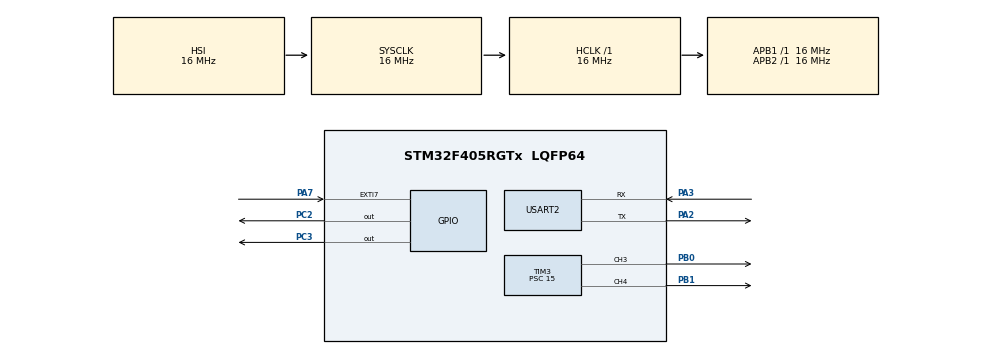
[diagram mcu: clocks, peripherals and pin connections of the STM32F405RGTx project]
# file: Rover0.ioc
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Mcu.Family=STM32F4
Mcu.Name=STM32F405RGTx
Mcu.Package=LQFP64
NVIC.EXTI9_5_IRQn=true\:0\:0\:false\:false\:true\:true\:true\:true
NVIC.PriorityGroup=NVIC_PRIORITYGROUP_4
PA2.Mode=Asynchronous
PA2.Signal=USART2_TX
PA3.Mode=Asynchronous
PA3.Signal=USART2_RX
PA7.GPIO_ModeDefaultEXTI=GPIO_MODE_IT_FALLING
PA7.Signal=GPXTI7
PB0.Signal=S_TIM3_CH3
PB1.Signal=S_TIM3_CH4
PC2.Signal=GPIO_Output
PC3.Signal=GPIO_Output
ProjectManager.HeapSize=0x200
ProjectManager.StackSize=0x400
ProjectManager.TargetToolchain=STM32CubeIDE
RCC.48MHZClocksFreq_Value=48000000
RCC.AHBFreq_Value=16000000
RCC.APB1Freq_Value=16000000
RCC.APB1TimFreq_Value=16000000
RCC.APB2Freq_Value=16000000
RCC.APB2TimFreq_Value=16000000
RCC.CortexFreq_Value=16000000
RCC.HCLKFreq_Value=16000000
RCC.HSE_VALUE=25000000
RCC.HSI_VALUE=16000000
RCC.LSE_VALUE=32768
RCC.SYSCLKFreq_VALUE=16000000
RCC.VCOOutputFreq_Value=192000000
SH.S_TIM3_CH3.0=TIM3_CH3,PWM Generation3 CH3
SH.S_TIM3_CH4.0=TIM3_CH4,PWM Generation4 CH4
TIM1.Prescaler=15
TIM3.Channel-PWM\ Generation3\ CH3=TIM_CHANNEL_3
TIM3.Channel-PWM\ Generation4\ CH4=TIM_CHANNEL_4
TIM3.Period=99
TIM3.Prescaler=15
TIM3.Pulse-PWM\ Generation3\ CH3=49
TIM3.Pulse-PWM\ Generation4\ CH4=49
USART2.VirtualMode=VM_ASYNC
VP_TIM1_VS_ClockSourceINT.Mode=Internal
VP_TIM3_VS_ClockSourceINT.Mode=Internal
board=custom

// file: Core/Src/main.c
/* USER CODE BEGIN Header */
/**
  ******************************************************************************
  * @file           : main.c
  * @brief          : Main program body
  ******************************************************************************
  * @attention
  *
  * Copyright (c) 2025 STMicroelectronics.
  * All rights reserved.
  *
  * This software is licensed under terms that can be found in the LICENSE file
  * in the root directory of this software component.
  * If no LICENSE file comes with this software, it is provided AS-IS.
  *
  ******************************************************************************
  */
/* USER CODE END Header */
#include "main.h"

/* USER CODE BEGIN Includes */
#include <stdio.h>
#include <string.h>
#include "stm32f4xx_hal_uart.h"
/* USER CODE END Includes */

TIM_HandleTypeDef htim1;
TIM_HandleTypeDef htim3;

UART_HandleTypeDef huart2;

/* USER CODE BEGIN PV */
uint32_t tempCode;
uint8_t bitIndex;
uint8_t cmd, cmdi;
uint32_t code;
uint8_t addr, addri;
volatile uint8_t command_received = 0;
volatile uint8_t command_code = 0;
/* USER CODE END PV */

void SystemClock_Config(void);
static void MX_GPIO_Init(void);
static void MX_TIM3_Init(void);
static void MX_TIM1_Init(void);
static void MX_USART2_UART_Init(void);

/* USER CODE BEGIN 0 */
void SetMotorLeft(int16_t speed)
{
    if (speed > 0) {
        HAL_GPIO_WritePin(GPIOC, GPIO_PIN_2, GPIO_PIN_RESET);
        // PC2 = DIR, TIM3_CH3 = PWM (PB0)
    } else {
        HAL_GPIO_WritePin(GPIOC, GPIO_PIN_2, GPIO_PIN_SET);
        speed = -speed;
    }
    __HAL_TIM_SET_COMPARE(&htim3, TIM_CHANNEL_3, speed);
}

void SetMotorRight(int16_t speed)
{
    if (speed > 0) {
        HAL_GPIO_WritePin(GPIOC, GPIO_PIN_3, GPIO_PIN_RESET);
        // PC2 = DIR, TIM3_CH3 = PWM (PB0)
    } else {
        HAL_GPIO_WritePin(GPIOC, GPIO_PIN_3, GPIO_PIN_SET);
        speed = -speed;
    }
    __HAL_TIM_SET_COMPARE(&htim3, TIM_CHANNEL_4, speed);
}
/* USER CODE END 0 */

int main(void)
{

  /* MCU Configuration--------------------------------------------------------*/

  /* Reset of all peripherals, Initializes the Flash interface and the Systick. */
  HAL_Init();

  /* Configure the system clock */
  SystemClock_Config();

  /* Initialize all configured peripherals */
  MX_GPIO_Init();
  MX_TIM3_Init();
  MX_TIM1_Init();
  MX_USART2_UART_Init();
  /* USER CODE BEGIN 2 */
  HAL_TIM_Base_Start(&htim1);
  HAL_TIM_PWM_Start(&htim3, TIM_CHANNEL_3);
  HAL_TIM_PWM_Start(&htim3, TIM_CHANNEL_4);
  /* USER CODE END 2 */

  /* Infinite loop */
  /* USER CODE BEGIN WHILE */
  while (1)
  {
	  if(command_received)
	  {
		command_received = 0;

		// sent to UART
		char buffer[80];
		snprintf(buffer, sizeof(buffer), "code: 0x%08lX, cmd: 0x%02X, ~cmd: 0x%02X, cmdi: 0x%02X\r\n", code, cmd, (uint8_t)~cmd, cmdi);
		HAL_UART_Transmit(&huart2, (uint8_t*)buffer, strlen(buffer), HAL_MAX_DELAY);

		switch(command_code)
		{
			case 0x42:	// forward
				SetMotorLeft(99);
				SetMotorRight(99);
				break;
			case 0xC2: // backward
				SetMotorLeft(-99);
				SetMotorRight(-99);
				break;
			case 0xA2: // left
				SetMotorLeft(99);
				SetMotorRight(-99);
				break;
			case 0x22: // right
				SetMotorLeft(-99);
				SetMotorRight(99);
				break;
			case 0x62: // stop
				SetMotorLeft(0);
				SetMotorRight(0);
				break;
		}
	}
    /* USER CODE END WHILE */
  }
}

void SystemClock_Config(void)
{
  RCC_OscInitTypeDef RCC_OscInitStruct = {0};
  RCC_ClkInitTypeDef RCC_ClkInitStruct = {0};

  /** Configure the main internal regulator output voltage
  */
  __HAL_RCC_PWR_CLK_ENABLE();
  __HAL_PWR_VOLTAGESCALING_CONFIG(PWR_REGULATOR_VOLTAGE_SCALE1);

  /** Initializes the RCC Oscillators according to the specified parameters
  * in the RCC_OscInitTypeDef structure.
  */
  RCC_OscInitStruct.OscillatorType = RCC_OSCILLATORTYPE_HSI;
  RCC_OscInitStruct.HSIState = RCC_HSI_ON;
  RCC_OscInitStruct.HSICalibrationValue = RCC_HSICALIBRATION_DEFAULT;
  RCC_OscInitStruct.PLL.PLLState = RCC_PLL_NONE;
  if (HAL_RCC_OscConfig(&RCC_OscInitStruct) != HAL_OK)
  {
    Error_Handler();
  }

  /** Initializes the CPU, AHB and APB buses clocks
  */
  RCC_ClkInitStruct.ClockType = RCC_CLOCKTYPE_HCLK|RCC_CLOCKTYPE_SYSCLK
                              |RCC_CLOCKTYPE_PCLK1|RCC_CLOCKTYPE_PCLK2;
  RCC_ClkInitStruct.SYSCLKSource = RCC_SYSCLKSOURCE_HSI;
  RCC_ClkInitStruct.AHBCLKDivider = RCC_SYSCLK_DIV1;
  RCC_ClkInitStruct.APB1CLKDivider = RCC_HCLK_DIV1;
  RCC_ClkInitStruct.APB2CLKDivider = RCC_HCLK_DIV1;

  if (HAL_RCC_ClockConfig(&RCC_ClkInitStruct, FLASH_LATENCY_0) != HAL_OK)
  {
    Error_Handler();
  }
}

static void MX_TIM1_Init(void)
{

  TIM_ClockConfigTypeDef sClockSourceConfig = {0};
  TIM_MasterConfigTypeDef sMasterConfig = {0};

  htim1.Instance = TIM1;
  htim1.Init.Prescaler = 15;
  htim1.Init.CounterMode = TIM_COUNTERMODE_UP;
  htim1.Init.Period = 65535;
  htim1.Init.ClockDivision = TIM_CLOCKDIVISION_DIV1;
  htim1.Init.RepetitionCounter = 0;
  htim1.Init.AutoReloadPreload = TIM_AUTORELOAD_PRELOAD_DISABLE;
  if (HAL_TIM_Base_Init(&htim1) != HAL_OK)
  {
    Error_Handler();
  }
  sClockSourceConfig.ClockSource = TIM_CLOCKSOURCE_INTERNAL;
  if (HAL_TIM_ConfigClockSource(&htim1, &sClockSourceConfig) != HAL_OK)
  {
    Error_Handler();
  }
  sMasterConfig.MasterOutputTrigger = TIM_TRGO_RESET;
  sMasterConfig.MasterSlaveMode = TIM_MASTERSLAVEMODE_DISABLE;
  if (HAL_TIMEx_MasterConfigSynchronization(&htim1, &sMasterConfig) != HAL_OK)
  {
    Error_Handler();
  }

}

static void MX_TIM3_Init(void)
{

  TIM_ClockConfigTypeDef sClockSourceConfig = {0};
  TIM_MasterConfigTypeDef sMasterConfig = {0};
  TIM_OC_InitTypeDef sConfigOC = {0};

  htim3.Instance = TIM3;
  htim3.Init.Prescaler = 15;
  htim3.Init.CounterMode = TIM_COUNTERMODE_UP;
  htim3.Init.Period = 99;
  htim3.Init.ClockDivision = TIM_CLOCKDIVISION_DIV1;
  htim3.Init.AutoReloadPreload = TIM_AUTORELOAD_PRELOAD_DISABLE;
  if (HAL_TIM_Base_Init(&htim3) != HAL_OK)
  {
    Error_Handler();
  }
  sClockSourceConfig.ClockSource = TIM_CLOCKSOURCE_INTERNAL;
  if (HAL_TIM_ConfigClockSource(&htim3, &sClockSourceConfig) != HAL_OK)
  {
    Error_Handler();
  }
  if (HAL_TIM_PWM_Init(&htim3) != HAL_OK)
  {
    Error_Handler();
  }
  sMasterConfig.MasterOutputTrigger = TIM_TRGO_RESET;
  sMasterConfig.MasterSlaveMode = TIM_MASTERSLAVEMODE_DISABLE;
  if (HAL_TIMEx_MasterConfigSynchronization(&htim3, &sMasterConfig) != HAL_OK)
  {
    Error_Handler();
  }
  sConfigOC.OCMode = TIM_OCMODE_PWM1;
  sConfigOC.Pulse = 49;
  sConfigOC.OCPolarity = TIM_OCPOLARITY_HIGH;
  sConfigOC.OCFastMode = TIM_OCFAST_DISABLE;
  if (HAL_TIM_PWM_ConfigChannel(&htim3, &sConfigOC, TIM_CHANNEL_3) != HAL_OK)
  {
    Error_Handler();
  }
  if (HAL_TIM_PWM_ConfigChannel(&htim3, &sConfigOC, TIM_CHANNEL_4) != HAL_OK)
  {
    Error_Handler();
  }
  HAL_TIM_MspPostInit(&htim3);

}

static void MX_USART2_UART_Init(void)
{

  huart2.Instance = USART2;
  huart2.Init.BaudRate = 115200;
  huart2.Init.WordLength = UART_WORDLENGTH_8B;
  huart2.Init.StopBits = UART_STOPBITS_1;
  huart2.Init.Parity = UART_PARITY_NONE;
  huart2.Init.Mode = UART_MODE_TX_RX;
  huart2.Init.HwFlowCtl = UART_HWCONTROL_NONE;
  huart2.Init.OverSampling = UART_OVERSAMPLING_16;
  if (HAL_UART_Init(&huart2) != HAL_OK)
  {
    Error_Handler();
  }

}

static void MX_GPIO_Init(void)
{
  GPIO_InitTypeDef GPIO_InitStruct = {0};

  /* GPIO Ports Clock Enable */
  __HAL_RCC_GPIOC_CLK_ENABLE();
  __HAL_RCC_GPIOA_CLK_ENABLE();
  __HAL_RCC_GPIOB_CLK_ENABLE();

  /*Configure GPIO pin Output Level */
  HAL_GPIO_WritePin(GPIOC, GPIO_PIN_2|GPIO_PIN_3, GPIO_PIN_RESET);

  /*Configure GPIO pins : PC2 PC3 */
  GPIO_InitStruct.Pin = GPIO_PIN_2|GPIO_PIN_3;
  GPIO_InitStruct.Mode = GPIO_MODE_OUTPUT_PP;
  GPIO_InitStruct.Pull = GPIO_NOPULL;
  GPIO_InitStruct.Speed = GPIO_SPEED_FREQ_LOW;
  HAL_GPIO_Init(GPIOC, &GPIO_InitStruct);

  /*Configure GPIO pin : PA7 */
  GPIO_InitStruct.Pin = GPIO_PIN_7;
  GPIO_InitStruct.Mode = GPIO_MODE_IT_FALLING;
  GPIO_InitStruct.Pull = GPIO_NOPULL;
  HAL_GPIO_Init(GPIOA, &GPIO_InitStruct);

  /* EXTI interrupt init*/
  HAL_NVIC_SetPriority(EXTI9_5_IRQn, 0, 0);
  HAL_NVIC_EnableIRQ(EXTI9_5_IRQn);

}

/* USER CODE BEGIN 4 */

void HAL_GPIO_EXTI_Callback(uint16_t GPIO_Pin)
{
	if(GPIO_Pin == GPIO_PIN_7)
	{
		//char msg[] = "IRQ!\r\n";
		//HAL_UART_Transmit(&huart2, (uint8_t*)msg, strlen(msg), HAL_MAX_DELAY);
		if(__HAL_TIM_GET_COUNTER(&htim1) > 8000)
		{
			tempCode = 0;
			bitIndex = 0;
		}
		else if(__HAL_TIM_GET_COUNTER(&htim1) > 1700)
		{
			tempCode |= (1UL << (31 - bitIndex)); // write 1;
			bitIndex++;
		}
		else if(__HAL_TIM_GET_COUNTER(&htim1) > 1000)
		{
			tempCode &= ~(1UL << (31 - bitIndex)); // write 0
			bitIndex++;
		}
		if(bitIndex == 32)
		{
			code = tempCode;
			cmdi = (uint8_t)tempCode;
			cmd = tempCode >> 8;
			addr = tempCode >> 24; // 0x70
			addri = tempCode >> 16; // 0x70
			command_code = cmd;
			command_received = 1;
			bitIndex = 0;
		}
		__HAL_TIM_SET_COUNTER(&htim1, 0);
	}
}
/* USER CODE END 4 */

void Error_Handler(void)
{
  __disable_irq();
  while (1)
  {
  }
}
